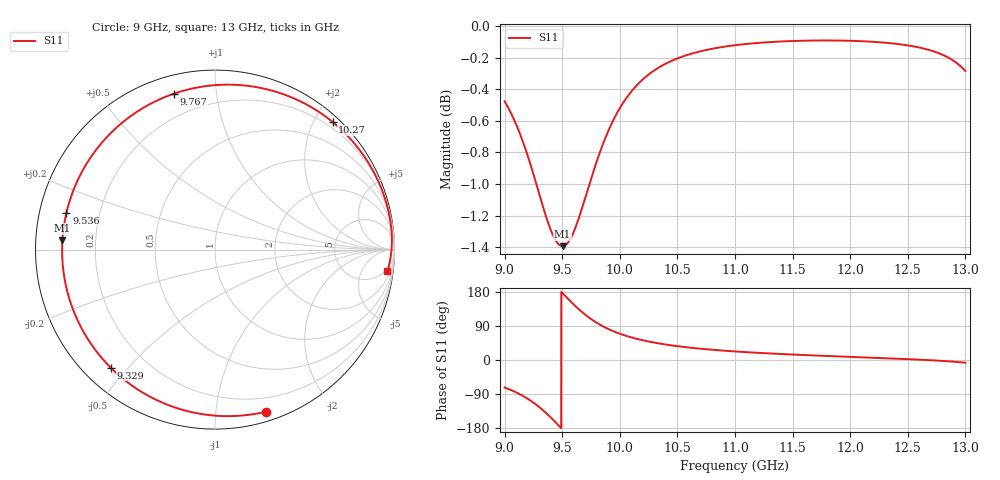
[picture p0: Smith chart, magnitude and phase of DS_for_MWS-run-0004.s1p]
! TOUCHSTONE file generated by CST DESIGN STUDIO
! Date and time: Tue Feb  4 17:59:45 2025
! Project name: C:\Work\MatlabApps\UnitCellOptimizationMatlab\CST\unitcell.cst
! Tree item: Tasks\Sweep1\SPara1\S-Parameters
! Header version: 2024
! Port assignment regex: !\s*Touchstone port\s*([0-9]+)\s*=\s*(CST MWS port|CST DES external port|CST DES block port)\s*(.+)\s* \(\"(.*)\"\)(\s*mode\s*([0-9]+))?.*
! Touchstone port assignment:
! Touchstone port 1 = CST DES external port 1 ("")
# GHz S MA R 50
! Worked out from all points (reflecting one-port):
!   4001 points, 9 GHz to 13 GHz, reference 50 ohm
!   lowest |S11| = -1.4 dB at 9.503 GHz (marker M1), VSWR 12.48, Z = 4.01 + j1.54 ohm
!   phase of S11 starts at -73 deg and turns -295 deg over the sweep
!   S11 on the Smith chart (normalised r, x): 9 GHz: 0.08, -1.36; 9.329 GHz: 0.08, -0.45; 9.536 GHz: 0.08, +0.12; 9.767 GHz: 0.09, +0.77; 10.27 GHz: 0.10, +2.28; 13 GHz: 4, -15
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9  0.9468 -72.6
9.086  0.9335 -83.4
9.189  0.9125 -100.1
9.262  0.8947 -115.1
9.329  0.8776 -131.4
9.374  0.8671 -143.8
9.422  0.8581 -158.1
9.462  0.8534 -170.5
9.5  0.8517 177.4
9.503  0.8517 176.4
9.536  0.8528 166.0
9.59  0.859 149.4
9.653  0.8713 131.5
9.708  0.8843 117.7
9.767  0.8986 104.7
9.867  0.9203 86.8
9.932  0.9319 77.5
10  0.942 69.3
10.127  0.9561 57.4
10.273  0.9669 47.4
10.5  0.9769 36.5
10.722  0.9824 29.2
11  0.9864 22.6
11.5  0.9894 14.4
12  0.9896 8.3
12.5  0.9863 2.3
12.782  0.9802 -2.0
13  0.968 -7.2
